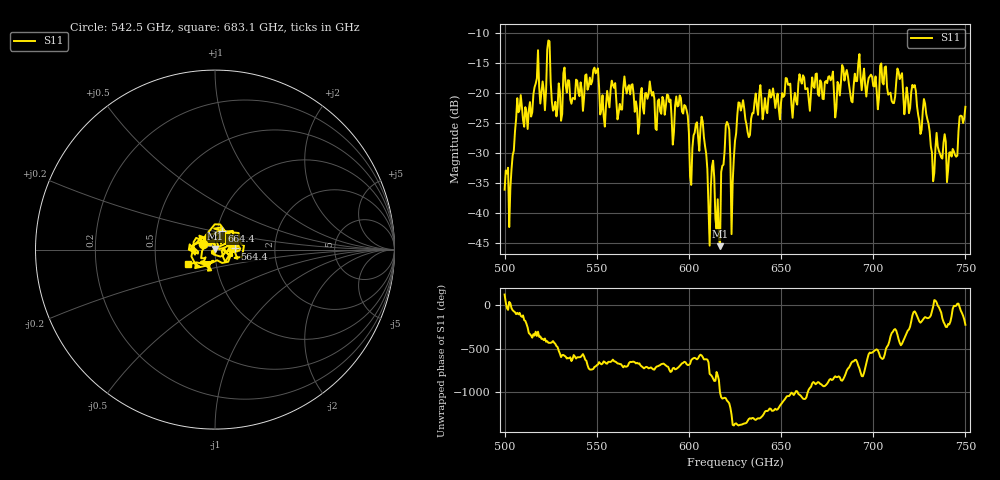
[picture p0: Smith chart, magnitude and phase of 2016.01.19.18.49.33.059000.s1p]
!Created with skrf (http://scikit-rf.org).
# GHz S RI R 50.0
!freq ReS11 ImS11
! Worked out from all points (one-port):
!   401 points, 500 GHz to 750 GHz, reference 50 ohm
!   lowest |S11| = -45.5 dB at 616.9 GHz (marker M1), VSWR 1.01, Z = 50.2 + j0.506 ohm
!   |S11| at or under -10 dB: start of sweep to end of sweep
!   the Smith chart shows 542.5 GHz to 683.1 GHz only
!   S11 on the Smith chart (normalised r, x): 542.5 GHz: 0.88, +0.05; 564.4 GHz: 1.25, +0.02; 664.4 GHz: 1.05, +0.22; 683.1 GHz: 0.73, -0.12
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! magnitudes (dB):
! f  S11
! 500 GHz  -36.1
! 503.8 GHz  -32.7
! 507.5 GHz  -23.2
! 516.9 GHz  -18.4
! 531.2 GHz  -23.4
! 542.5 GHz  -23.0
! 549.4 GHz  -16.7
! 553.1 GHz  -20.4
! 562.5 GHz  -21.8
! 564.4 GHz  -19.1
! 593.8 GHz  -22.2
! 601.2 GHz  -35.3
! 607.5 GHz  -24.8
! 610.6 GHz  -38.8
! 616.9 GHz  -45.5
! 620.6 GHz  -24.8
! 623.8 GHz  -34.8
! 625 GHz  -28.0
! 628.1 GHz  -22.9
! 656.2 GHz  -24.1
! 664.4 GHz  -19.2
! 683.1 GHz  -15.3
! 687.5 GHz  -20.0
! 714.4 GHz  -17.7
! 718.8 GHz  -20.5
! 728.8 GHz  -23.5
! 732.5 GHz  -34.7
! 750 GHz  -22.3
